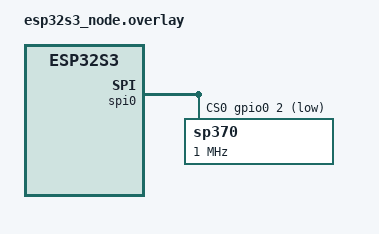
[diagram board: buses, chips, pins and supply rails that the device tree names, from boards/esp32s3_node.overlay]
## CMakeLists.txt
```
cmake_minimum_required(VERSION 3.20.0)

set(BOARD esp32s3_devkitm)
set(DTC_OVERLAY_FILE ${CMAKE_CURRENT_SOURCE_DIR}/boards/esp32s3_node.overlay)

find_package(Zephyr REQUIRED HINTS $ENV{ZEPHYR_BASE})
project(tpms_node)

target_sources(app PRIVATE src/main.c)
target_include_directories(app PRIVATE ${CMAKE_CURRENT_SOURCE_DIR}/../common/can_protocol)
target_include_directories(app PRIVATE ${CMAKE_CURRENT_SOURCE_DIR}/../common/sensor_utils)
```

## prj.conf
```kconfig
CONFIG_SPI=y
CONFIG_CAN=y
CONFIG_SENSOR=y
CONFIG_WATCHDOG=y
CONFIG_ASIL_MONITOR=y
CONFIG_TASK_MONITOR=y
CONFIG_ERROR_HANDLER=y
CONFIG_RUNTIME_STATS=y
CONFIG_RF=y
```

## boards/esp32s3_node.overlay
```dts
/ {
    aliases {
        spi-tpms = &spi0;
    };
};

&spi0 {
    status = "okay";
    cs-gpios = <&gpio0 2 GPIO_ACTIVE_LOW>;
    
    sp370: sp370@0 {
        compatible = "sp370";
        reg = <0>;
        spi-max-frequency = <1000000>;
        status = "okay";
    };
};
```

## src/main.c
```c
#include <zephyr/kernel.h>
#include <zephyr/drivers/gpio.h>
#include <zephyr/drivers/spi.h>
#include "sensor_common.h"
#include "can_ids.h"

#define SP370_CS_PIN  2
#define SP370_SDO_PIN 3
#define SP370_CLK_PIN 4

static const struct device *spi_dev;
static const struct device *can_dev;

static void tpms_thread(void *arg1, void *arg2, void *arg3) {
    uint8_t pressure_data;
    struct spi_buf rx_buf = { .buf = &pressure_data, .len = 1 };
    struct spi_buf_set rx = { .buffers = &rx_buf, .count = 1 };

    while (1) {
        // Read pressure from SP370 sensor
        if (spi_read(spi_dev, &rx) == 0) {
            // Send pressure data over CAN
            send_sensor_data(can_dev, CAN_ID_TPMS, &pressure_data, TPMS_MSG_LEN);
        }
        k_sleep(K_MSEC(1000));
    }
}

void main(void) {
    // Initialize devices
    spi_dev = DEVICE_DT_GET(DT_NODELABEL(spi0));
    can_dev = DEVICE_DT_GET(DT_CHOSEN(zephyr_canbus));

    if (!device_is_ready(spi_dev) || !device_is_ready(can_dev)) {
        return;
    }

    k_thread_create(&tpms_thread_data, tpms_stack,
                   SENSOR_THREAD_STACK_SIZE,
                   tpms_thread, NULL, NULL, NULL,
                   SENSOR_THREAD_PRIORITY, 0, K_NO_WAIT);
}
```
